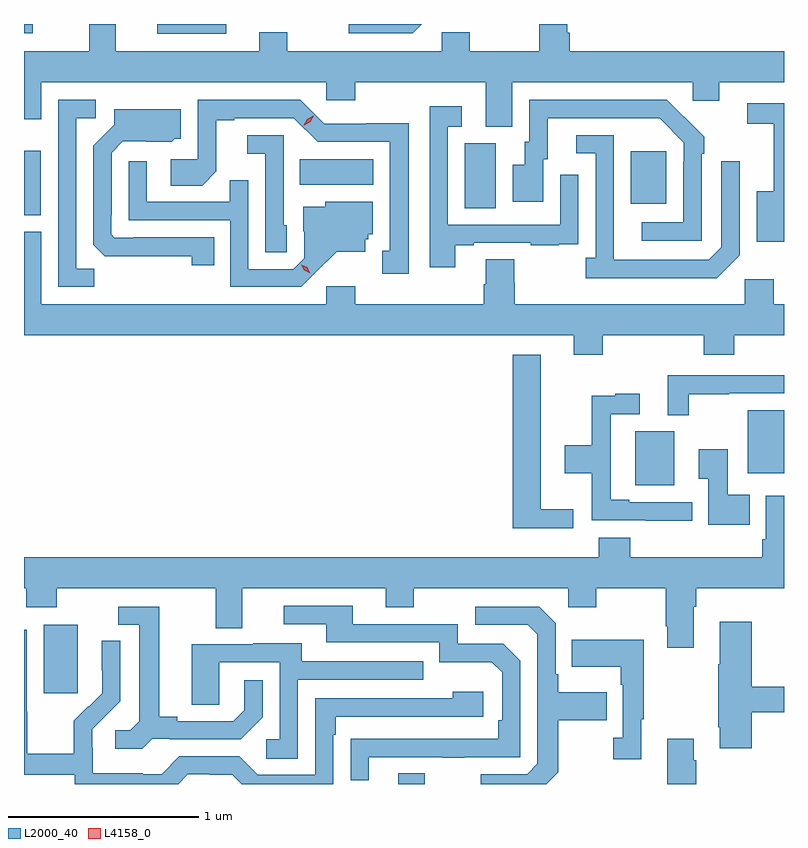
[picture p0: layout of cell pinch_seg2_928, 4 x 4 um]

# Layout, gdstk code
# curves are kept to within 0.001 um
import gdstk
lib = gdstk.Library(unit=1e-6, precision=1e-09)
def R(c, l, rs):  # rectangles x0, y0, x1, y1
    for r in rs: c.add(gdstk.rectangle(r[:2], r[2:], *l))
def P(c, l, *ps):  # polygons
    for p in ps: c.add(gdstk.Polygon(p, *l))
L2000_40 = (2000, 40)
L4158_0 = (4158, 0)

pinch_seg2_928 = lib.new_cell('pinch_seg2_928')
R(pinch_seg2_928, L2000_40, [(318.593,655.931,318.733,655.987), (316.727,656.409,316.906,656.77), (319.841,657.503,320.047,657.787), (320.432,657.566,320.624,657.898), (316.624,658.925,316.711,659.263), (318.944,658.96,319.108,659.304), (319.817,658.985,320.005,659.26), (318.076,659.084,318.463,659.218), (317.325,659.88,317.689,659.931), (316.624,659.883,316.669,659.931)])
P(pinch_seg2_928, L2000_40, [(318.717,659.931),(318.333,659.931),(318.333,659.883),(318.669,659.883)],
  [(319.195,659.624),(320.145,659.624),(320.145,659.526),(320.284,659.526),(320.284,659.624),(320.624,659.624),(320.624,659.788),(319.496,659.788),(319.496,659.884),(319.483,659.884),(319.483,659.931),(319.336,659.931),(319.336,659.788),(318.969,659.788),(318.969,659.887),(318.822,659.887),(318.822,659.788),(318.009,659.788),(318.009,659.887),(317.861,659.887),(317.861,659.788),(317.107,659.788),(317.107,659.931),(316.967,659.931),(316.967,659.788),(316.624,659.788),(316.624,659.43),(316.714,659.43),(316.714,659.624),(318.216,659.624),(318.216,659.531),(318.368,659.531),(318.368,659.624),(319.055,659.624),(319.055,659.389),(319.195,659.389)],
  [(320.19,659.249),(320.205,659.249),(320.205,659.337),(320.008,659.532),(319.284,659.532),(319.284,659.31),(319.259,659.31),(319.259,659.191),(319.196,659.191),(319.196,658.995),(319.357,658.995),(319.357,659.22),(319.381,659.22),(319.381,659.436),(319.969,659.436),(320.097,659.307),(320.097,659.207),(320.094,659.207),(320.094,658.887),(319.875,658.887),(319.875,658.791),(320.19,658.791)],
  [(318.649,659.408),(318.426,659.408),(318.426,659.406),(318.204,659.406),(318.078,659.532),(317.538,659.532),(317.538,659.22),(317.397,659.22),(317.397,659.08),(317.561,659.08),(317.637,659.156),(317.637,659.424),(317.731,659.424),(317.731,659.436),(318.045,659.436),(318.171,659.31),(318.548,659.31),(318.548,658.737),(318.509,658.737),(318.509,658.617),(318.649,658.617)],
  [(316.995,658.643),(316.899,658.643),(316.899,659.436),(317.002,659.436),(317.002,659.532),(316.803,659.532),(316.803,658.548),(316.995,658.548)],
  [(320.624,659.514),(320.43,659.514),(320.43,659.406),(320.57,659.406),(320.57,659.05),(320.48,659.05),(320.48,658.786),(320.624,658.786)],
  [(318.895,658.767),(318.991,658.767),(318.991,658.779),(319.291,658.779),(319.291,658.767),(319.439,658.767),(319.439,658.773),(319.541,658.773),(319.541,658.882),(319.542,658.882),(319.542,659.137),(319.446,659.137),(319.446,658.875),(318.855,658.875),(318.855,659.391),(318.928,659.391),(318.928,659.497),(318.759,659.497),(318.759,658.65),(318.895,658.65)],
  [(317.624,658.809),(317.2,658.809),(317.2,658.806),(317.1,658.806),(317.082,658.824),(317.082,658.924),(317.085,658.924),(317.085,659.253),(317.145,659.313),(317.402,659.312),(317.418,659.328),(317.449,659.328),(317.449,659.482),(317.099,659.482),(317.099,659.4),(316.989,659.29),(316.989,658.768),(317.048,658.709),(317.506,658.708),(317.506,658.662),(317.624,658.662)],
  [(320.391,658.713),(320.391,659.209),(320.295,659.209),(320.295,658.755),(320.229,658.689),(319.729,658.689),(319.728,659.346),(319.53,659.346),(319.53,659.25),(319.632,659.25),(319.632,658.702),(319.581,658.702),(319.581,658.592),(320.27,658.592)],
  [(318.006,658.872),(317.991,658.872),(317.991,659.346),(317.799,659.346),(317.799,659.249),(317.895,659.249),(317.895,658.729),(318.006,658.729)],
  [(318.166,658.631),(318.269,658.733),(318.421,658.733),(318.421,658.797),(318.435,658.797),(318.435,658.824),(318.46,658.824),(318.46,658.996),(318.21,658.996),(318.21,658.969),(318.095,658.969),(318.095,658.84),(318.099,658.84),(318.099,658.698),(318.042,658.641),(317.805,658.641),(317.805,659.108),(317.707,659.108),(317.707,658.995),(317.271,658.995),(317.271,659.209),(317.175,659.209),(317.175,658.899),(317.709,658.899),(317.709,658.548),(318.082,658.548)],
  [(319.67,658.292),(320.201,658.292),(320.201,658.19),(320.361,658.19),(320.361,658.292),(320.624,658.292),(320.624,658.456),(320.57,658.456),(320.57,658.588),(320.418,658.588),(320.418,658.456),(319.208,658.456),(319.208,658.569),(319.203,658.569),(319.203,658.694),(319.055,658.694),(319.055,658.562),(319.043,658.562),(319.043,658.456),(318.368,658.456),(318.368,658.552),(318.216,658.552),(318.216,658.456),(316.714,658.456),(316.714,658.837),(316.624,658.837),(316.624,658.292),(319.517,658.292),(319.517,658.19),(319.67,658.19)],
  [(319.516,657.377),(319.345,657.377),(319.345,658.189),(319.196,658.189),(319.196,657.278),(319.516,657.278)],
  [(320.122,657.982),(320.336,657.982),(320.336,657.987),(320.624,657.987),(320.624,658.083),(320.012,658.083),(320.012,657.872),(320.122,657.872)],
  [(320.14,657.414),(319.81,657.414),(319.81,657.427),(319.713,657.427),(319.713,657.876),(319.864,657.876),(319.864,657.985),(319.736,657.985),(319.736,657.974),(319.612,657.974),(319.612,657.714),(319.47,657.714),(319.47,657.566),(319.612,657.566),(319.612,657.318),(319.897,657.318),(319.897,657.317),(320.14,657.317)],
  [(320.444,657.454),(320.329,657.454),(320.329,657.694),(320.175,657.694),(320.175,657.538),(320.225,657.538),(320.225,657.296),(320.444,657.296)],
  [(316.624,656.96),(316.637,656.96),(316.637,656.861),(316.797,656.861),(316.797,656.96),(317.633,656.96),(317.633,656.752),(317.773,656.752),(317.773,656.96),(318.527,656.96),(318.527,656.861),(318.675,656.861),(318.675,656.96),(319.488,656.96),(319.488,656.861),(319.635,656.861),(319.635,656.96),(320.002,656.96),(320.002,656.761),(320.009,656.761),(320.009,656.649),(320.149,656.649),(320.149,656.864),(320.162,656.864),(320.162,656.96),(320.624,656.96),(320.624,657.448),(320.529,657.448),(320.529,657.22),(320.509,657.22),(320.509,657.124),(319.814,657.124),(319.814,657.226),(319.649,657.226),(319.649,657.124),(316.624,657.124)],
  [(318.439,656.073),(318.829,656.073),(318.829,656.068),(318.941,656.068),(318.941,656.073),(319.236,656.073),(319.236,656.58),(319.146,656.67),(318.906,656.67),(318.906,656.772),(318.355,656.772),(318.355,656.868),(317.991,656.868),(317.991,656.772),(318.215,656.772),(318.215,656.676),(318.81,656.676),(318.81,656.573),(319.087,656.573),(319.14,656.52),(319.14,656.266),(319.12,656.266),(319.12,656.169),(318.343,656.168),(318.343,655.95),(318.439,655.95)],
  [(319.435,655.993),(319.435,656.266),(319.691,656.266),(319.691,656.413),(319.435,656.413),(319.435,656.509),(319.422,656.509),(319.422,656.778),(319.335,656.865),(318.999,656.865),(318.999,656.769),(319.275,656.769),(319.326,656.718),(319.326,656.037),(319.272,655.983),(319.029,655.983),(319.029,655.931),(319.373,655.931)],
  [(317.298,656.169),(317.392,656.169),(317.392,656.166),(317.764,656.166),(317.88,656.282),(317.88,656.476),(317.783,656.476),(317.783,656.319),(317.726,656.262),(317.431,656.262),(317.431,656.285),(317.335,656.285),(317.335,656.865),(317.121,656.865),(317.121,656.769),(317.231,656.769),(317.231,656.261),(317.184,656.214),(317.103,656.214),(317.103,656.117),(317.246,656.117)],
  [(320.453,656.308),(320.624,656.308),(320.624,656.444),(320.453,656.444),(320.453,656.785),(320.285,656.785),(320.285,656.561),(320.278,656.561),(320.278,656.23),(320.285,656.23),(320.285,656.118),(320.453,656.118)],
  [(317.487,655.983),(317.603,655.983),(317.603,655.98),(317.721,655.98),(317.77,655.931),(318.252,655.931),(318.252,656.189),(318.265,656.189),(318.265,656.286),(319.042,656.286),(319.042,656.416),(318.881,656.416),(318.881,656.382),(318.156,656.382),(318.156,655.98),(317.853,655.98),(317.757,656.076),(317.442,656.076),(317.349,655.983),(317.249,655.983),(317.249,655.987),(316.986,655.987),(316.986,656.121),(316.984,656.121),(316.984,656.218),(317.13,656.366),(317.13,656.684),(317.034,656.684),(317.034,656.53),(317.036,656.53),(317.036,656.408),(316.965,656.337),(316.962,656.34),(316.885,656.263),(316.885,656.089),(316.641,656.089),(316.641,656.312),(316.638,656.312),(316.638,656.742),(316.624,656.742),(316.624,655.98),(316.89,655.98),(316.89,655.931),(317.435,655.931)],
  [(319.873,656.273),(319.885,656.273),(319.885,656.689),(319.507,656.689),(319.507,656.549),(319.764,656.549),(319.764,656.453),(319.776,656.453),(319.776,656.174),(319.725,656.174),(319.725,656.061),(319.873,656.061)],
  [(318.066,656.481),(318.725,656.481),(318.725,656.577),(318.085,656.577),(318.085,656.671),(317.831,656.671),(317.831,656.667),(317.507,656.667),(317.507,656.347),(317.652,656.347),(317.652,656.571),(317.97,656.571),(317.97,656.166),(317.898,656.166),(317.898,656.065),(318.066,656.065)],
  [(320.162,656.057),(320.149,656.057),(320.149,656.17),(320.009,656.17),(320.009,655.931),(320.162,655.931)])
P(pinch_seg2_928, L4158_0, [(318.097,659.397),(318.097,659.397),(318.115,659.43),(318.147,659.448),(318.148,659.448),(318.148,659.448),(318.13,659.416),(318.098,659.397)],
  [(318.131,658.62),(318.1,658.635),(318.083,658.665),(318.083,658.665),(318.083,658.665),(318.114,658.65),(318.131,658.62),(318.131,658.62)])

lib.write_gds('pinch_seg2_928.gds')
